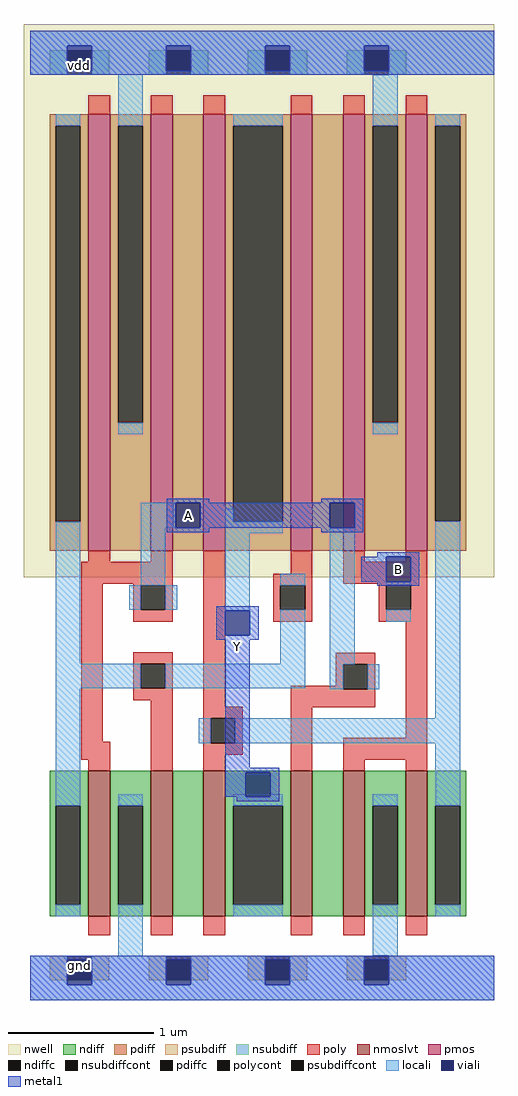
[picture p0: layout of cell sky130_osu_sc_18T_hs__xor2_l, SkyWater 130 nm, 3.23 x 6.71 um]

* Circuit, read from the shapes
.subckt sky130_osu_sc_18T_hs__xor2_l A Y B
XM1 gnd A n1 gnd sky130_fd_pr__nfet_01v8_lvt w=1 l=0.15
XM2 n2 n1 gnd gnd sky130_fd_pr__nfet_01v8_lvt w=1 l=0.15
XM3 Y n3 n2 gnd sky130_fd_pr__nfet_01v8_lvt w=1 l=0.15
XM4 n4 A Y gnd sky130_fd_pr__nfet_01v8_lvt w=1 l=0.15
XM5 gnd B n4 gnd sky130_fd_pr__nfet_01v8_lvt w=1 l=0.15
XM6 n3 B gnd gnd sky130_fd_pr__nfet_01v8_lvt w=1 l=0.15
XM7 vdd A n1 vdd sky130_fd_pr__pfet_01v8 w=3 l=0.15
XM8 n5 A vdd vdd sky130_fd_pr__pfet_01v8 w=3 l=0.15
XM9 Y n3 n5 vdd sky130_fd_pr__pfet_01v8 w=3 l=0.15
XM10 n6 n1 Y vdd sky130_fd_pr__pfet_01v8 w=3 l=0.15
XM11 vdd B n6 vdd sky130_fd_pr__pfet_01v8 w=3 l=0.15
XM12 n3 B vdd vdd sky130_fd_pr__pfet_01v8 w=3 l=0.15
.ends

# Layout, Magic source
magic
tech sky130A
magscale 1 2
<< nwell >>
rect -9 581 638 1341
<< pmos >>
rect 80 617 110 1217
rect 166 617 196 1217
rect 238 617 268 1217
rect 358 617 388 1217
rect 430 617 460 1217
rect 516 617 546 1217
<< nmoslvt >>
rect 80 115 110 315
rect 166 115 196 315
rect 238 115 268 315
rect 358 115 388 315
rect 430 115 460 315
rect 516 115 546 315
<< ndiff >>
rect 27 267 80 315
rect 27 131 35 267
rect 69 131 80 267
rect 27 115 80 131
rect 110 267 166 315
rect 110 131 121 267
rect 155 131 166 267
rect 110 115 166 131
rect 196 115 238 315
rect 268 267 358 315
rect 268 131 279 267
rect 347 131 358 267
rect 268 115 358 131
rect 388 115 430 315
rect 460 267 516 315
rect 460 131 471 267
rect 505 131 516 267
rect 460 115 516 131
rect 546 267 599 315
rect 546 131 557 267
rect 591 131 599 267
rect 546 115 599 131
<< pdiff >>
rect 27 1201 80 1217
rect 27 657 35 1201
rect 69 657 80 1201
rect 27 617 80 657
rect 110 1201 166 1217
rect 110 793 121 1201
rect 155 793 166 1201
rect 110 617 166 793
rect 196 617 238 1217
rect 268 1201 358 1217
rect 268 657 279 1201
rect 347 657 358 1201
rect 268 617 358 657
rect 388 617 430 1217
rect 460 1201 516 1217
rect 460 793 471 1201
rect 505 793 516 1201
rect 460 617 516 793
rect 546 1201 599 1217
rect 546 658 557 1201
rect 591 658 599 1201
rect 546 617 599 658
<< ndiffc >>
rect 35 131 69 267
rect 121 131 155 267
rect 279 131 347 267
rect 471 131 505 267
rect 557 131 591 267
<< pdiffc >>
rect 35 657 69 1201
rect 121 793 155 1201
rect 279 657 347 1201
rect 471 793 505 1201
rect 557 658 591 1201
<< psubdiff >>
rect 27 27 51 61
rect 85 27 109 61
rect 163 27 187 61
rect 221 27 245 61
rect 299 27 323 61
rect 357 27 381 61
rect 435 27 459 61
rect 493 27 517 61
<< nsubdiff >>
rect 27 1271 51 1305
rect 85 1271 109 1305
rect 163 1271 187 1305
rect 221 1271 245 1305
rect 299 1271 323 1305
rect 357 1271 381 1305
rect 435 1271 459 1305
rect 493 1271 517 1305
<< psubdiffcont >>
rect 51 27 85 61
rect 187 27 221 61
rect 323 27 357 61
rect 459 27 493 61
<< nsubdiffcont >>
rect 51 1271 85 1305
rect 187 1271 221 1305
rect 323 1271 357 1305
rect 459 1271 493 1305
<< poly >>
rect 80 1217 110 1243
rect 166 1217 196 1243
rect 238 1217 268 1243
rect 358 1217 388 1243
rect 430 1217 460 1243
rect 516 1217 546 1243
rect 80 602 110 617
rect 166 602 196 617
rect 70 572 196 602
rect 70 355 100 572
rect 142 570 196 572
rect 142 536 152 570
rect 186 536 196 570
rect 142 520 196 536
rect 142 462 196 478
rect 142 428 152 462
rect 186 428 196 462
rect 142 412 196 428
rect 70 330 110 355
rect 80 315 110 330
rect 166 315 196 412
rect 238 403 268 617
rect 358 586 388 617
rect 334 570 388 586
rect 430 602 460 617
rect 516 602 546 617
rect 430 572 546 602
rect 334 536 344 570
rect 378 536 388 570
rect 334 520 388 536
rect 479 570 546 572
rect 479 536 489 570
rect 523 536 546 570
rect 479 520 546 536
rect 420 461 474 477
rect 420 432 430 461
rect 358 427 430 432
rect 464 427 474 461
rect 238 387 292 403
rect 238 353 248 387
rect 282 353 292 387
rect 238 337 292 353
rect 358 402 474 427
rect 238 315 268 337
rect 358 315 388 402
rect 516 360 546 520
rect 430 330 546 360
rect 430 315 460 330
rect 516 315 546 330
rect 80 89 110 115
rect 166 89 196 115
rect 238 89 268 115
rect 358 89 388 115
rect 430 89 460 115
rect 516 89 546 115
<< polycont >>
rect 152 536 186 570
rect 152 428 186 462
rect 344 536 378 570
rect 489 536 523 570
rect 430 427 464 461
rect 248 353 282 387
<< locali >>
rect 0 1311 638 1332
rect 0 1271 51 1311
rect 85 1271 187 1311
rect 221 1271 323 1311
rect 357 1271 459 1311
rect 493 1271 638 1311
rect 35 1201 69 1217
rect 121 1201 155 1271
rect 121 777 155 793
rect 279 1201 347 1217
rect 35 462 69 657
rect 152 649 200 683
rect 268 657 279 675
rect 471 1201 505 1271
rect 471 777 505 793
rect 557 1201 591 1217
rect 152 570 186 649
rect 268 641 347 657
rect 136 536 152 570
rect 186 536 202 570
rect 268 535 302 641
rect 344 570 378 586
rect 344 462 378 536
rect 35 428 152 462
rect 186 428 378 462
rect 412 461 446 649
rect 489 570 523 575
rect 489 520 523 536
rect 35 267 69 428
rect 412 427 430 461
rect 464 427 480 461
rect 557 387 591 658
rect 232 353 248 387
rect 282 353 591 387
rect 35 115 69 131
rect 121 267 155 283
rect 121 61 155 131
rect 279 279 296 283
rect 330 279 347 283
rect 279 267 347 279
rect 279 115 347 131
rect 471 267 505 283
rect 471 61 505 131
rect 557 267 591 353
rect 557 115 591 131
rect 0 21 51 61
rect 85 21 187 61
rect 221 21 323 61
rect 357 21 459 61
rect 493 21 638 61
rect 0 0 638 21
<< viali >>
rect 51 1305 85 1311
rect 51 1277 85 1305
rect 187 1305 221 1311
rect 187 1277 221 1305
rect 323 1305 357 1311
rect 323 1277 357 1305
rect 459 1305 493 1311
rect 459 1277 493 1305
rect 200 649 234 683
rect 412 649 446 683
rect 268 501 302 535
rect 489 575 523 609
rect 296 279 330 313
rect 51 27 85 55
rect 51 21 85 27
rect 187 27 221 55
rect 187 21 221 27
rect 323 27 357 55
rect 323 21 357 27
rect 459 27 493 55
rect 459 21 493 27
<< metal1 >>
rect 0 1311 638 1332
rect 0 1277 51 1311
rect 85 1277 187 1311
rect 221 1277 323 1311
rect 357 1277 459 1311
rect 493 1277 638 1311
rect 0 1271 638 1277
rect 188 683 246 689
rect 400 683 458 689
rect 188 649 200 683
rect 234 649 412 683
rect 446 649 458 683
rect 188 643 246 649
rect 400 643 458 649
rect 477 609 535 615
rect 455 575 489 609
rect 523 575 535 609
rect 477 569 535 575
rect 256 535 314 541
rect 256 501 268 535
rect 302 501 314 535
rect 256 495 314 501
rect 268 319 302 495
rect 268 313 342 319
rect 268 279 296 313
rect 330 279 342 313
rect 284 273 342 279
rect 0 55 638 61
rect 0 21 51 55
rect 85 21 187 55
rect 221 21 323 55
rect 357 21 459 55
rect 493 21 638 55
rect 0 0 638 21
<< labels >>
rlabel metal1 218 666 218 666 1 A
port 1 n
rlabel metal1 285 486 285 486 1 Y
port 2 n
rlabel metal1 506 592 506 592 1 B
port 3 n
rlabel viali 68 48 68 48 1 gnd
rlabel viali 68 1284 68 1284 1 vdd
<< end >>
